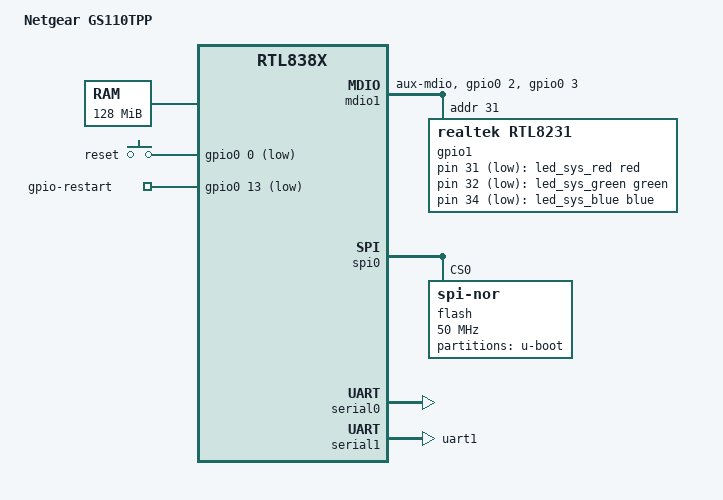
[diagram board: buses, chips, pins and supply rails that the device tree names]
// SPDX-License-Identifier: GPL-2.0-or-later
/dts-v1/;

#include "rtl83xx.dtsi"
#include "rtl838x.dtsi"

#include <dt-bindings/gpio/gpio.h>
#include <dt-bindings/input/input.h>
#include <dt-bindings/leds/common.h>

#define NETGEAR_PORT_LED(phy)			\
	led@##phy##.0 {				\
		reg = <(phy) 0 0>;		\
		color = <LED_COLOR_ID_GREEN>;	\
		function = LED_FUNCTION_LAN;	\
		function-enumerator = <(phy)>;	\
	};					\
	led@##phy##.1 {				\
		reg = <(phy) 1 0>;		\
		color = <LED_COLOR_ID_AMBER>;	\
		function = LED_FUNCTION_LAN;	\
		function-enumerator = <(phy)>;	\
	}

/ {
	compatible = "netgear,gs110tpp-v1", "realtek,rtl83xx-soc";
	model = "Netgear GS110TPP";

	chosen {
		stdout-path = "serial0";
		bootargs = "earlycon console=ttyS0,115200";
	};

	memory@0 {
		device_type = "memory";
		reg = <0x0 0x8000000>;
	};

	aliases {
		mdio-gpio1 = &mdio1;
	};

	keys {
		compatible = "gpio-keys";

		pinctrl-names = "default";
		pinctrl-0 = <&sys_led_pins>;

		reset {
			gpios = <&gpio0 0 GPIO_ACTIVE_LOW>;
			linux,code = <KEY_RESTART>;
		};
	};

	leds {
		pinctrl-names = "default";
		pinctrl-0 = <&led_pin_config>;

		compatible = "gpio-leds";

		led_sys_red: sys_red {
			gpios = <&gpio1 31 GPIO_ACTIVE_LOW>;
			color = <LED_COLOR_ID_RED>;
			function = LED_FUNCTION_STATUS;
		};

		led_sys_green: sys_green {
			gpios = <&gpio1 32 GPIO_ACTIVE_LOW>;
			color = <LED_COLOR_ID_GREEN>;
			function = LED_FUNCTION_STATUS;
		};

		led_sys_blue: sys_blue {
			gpios = <&gpio1 34 GPIO_ACTIVE_LOW>;
			color = <LED_COLOR_ID_BLUE>;
			function = LED_FUNCTION_STATUS;
			linux,default-trigger = "default-on";
		};
	};

	gpio-restart {
		pinctrl-names = "default";
		pinctrl-0 = <&jtag_pins>;

		compatible = "gpio-restart";
		gpios = <&gpio0 13 GPIO_ACTIVE_LOW>;
		priority = <192>;
		open-source;
	};

	mdio1: mdio {
		pinctrl-names = "default";
		pinctrl-0 = <&gpio_mdx_pins>;

		compatible = "virtual,mdio-gpio";
		#address-cells = <1>;
		#size-cells = <0>;
		gpios = <&gpio0 2 GPIO_ACTIVE_HIGH>,
			<&gpio0 3 GPIO_ACTIVE_HIGH>;

		gpio1: gpio-expander@31 {
			compatible = "realtek,rtl8231";
			reg = <31>;

			gpio-controller;
			#gpio-cells = <2>;
			gpio-ranges = <&gpio1 0 0 37>;

			led_pin_config: led-pins {
				pins = "gpio31", "gpio32", "gpio34";
				function = "gpio";
			};
		};
	};

	switchcore-bus@1b000000 {
		compatible = "realtek,rtl8380-switchcore", "syscon";
		reg = <0x1b000000 0x10000>;

		pinctrl {
			compatible = "realtek,rtl8380-pinctrl";

			sys_led_pins: sys-led-mux {
				groups = "sys-led";
				function = "gpio";
			};

			gpio_mdx_pins: aux-mdio-mux {
				groups = "aux-mdio";
				function = "gpio";
			};

			uart1_pins: uart1-mux {
				groups = "uart1";
				function = "uart1";
			};

			jtag_pins: jtag-mux {
				groups = "jtag";
				function = "gpio";
			};
		};

		port-leds {
			compatible = "realtek,rtl8380-port-led";
			#address-cells = <3>;
			#size-cells = <0>;

			realtek,output-mode = "serial";

			NETGEAR_PORT_LED(8);
			NETGEAR_PORT_LED(9);
			NETGEAR_PORT_LED(10);
			NETGEAR_PORT_LED(11);
			NETGEAR_PORT_LED(12);
			NETGEAR_PORT_LED(13);
			NETGEAR_PORT_LED(14);
			NETGEAR_PORT_LED(15);
			NETGEAR_PORT_LED(16);
			NETGEAR_PORT_LED(17);
		};
	};
};

&spi0 {
	flash@0 {
		compatible = "jedec,spi-nor";
		reg = <0>;
		spi-max-frequency = <50000000>;

		partitions {
			compatible = "fixed-partitions";
			#address-cells = <1>;
			#size-cells = <1>;

			partition@0 {
				label = "u-boot";
				reg = <0x0 0xe0000>;
				read-only;
			};
		};
	};
};

&serial0 {
	status = "okay";
};

&serial1 {
	status = "okay";

	pinctrl-names = "default";
	pinctrl-0 = <&uart1_pins>;
};
